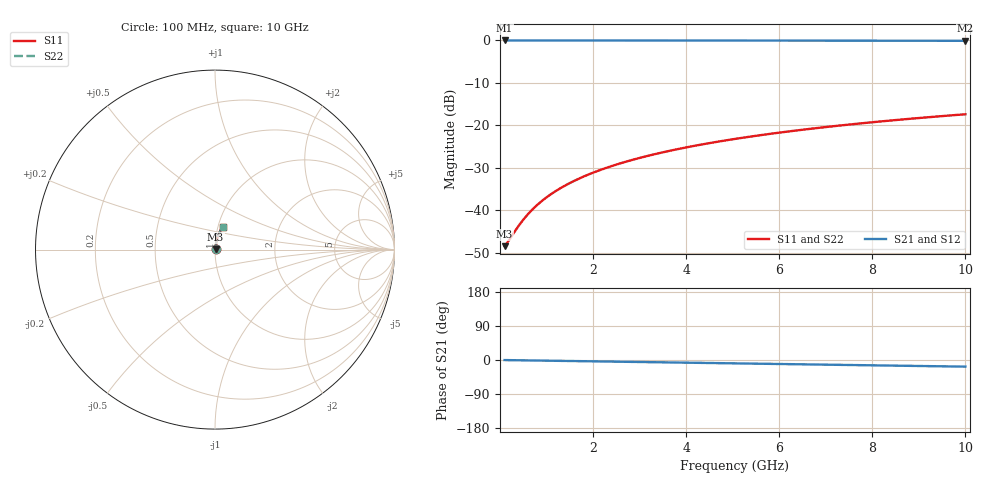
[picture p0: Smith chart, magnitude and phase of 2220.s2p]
# Hz S RI R 50.00
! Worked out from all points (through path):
!   100 points, 100 MHz to 10 GHz, reference 50 ohm
!   highest |S21| = -0.03 dB at 100 MHz (marker M1); lowest = -0.1 dB at 10 GHz (marker M2)
!   group delay of S21, straight-line fit = 4.87 ps
!   lowest |S11| = -48.4 dB at 100 MHz (marker M3), VSWR 1.01, Z = 50.4 + j0.138 ohm
!   |S11| at or under -10 dB: start of sweep to end of sweep
!   |S22| runs from -48.4 to -17.4 dB; largest |S21 - S12| = 0
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1e8  0.00355 0.00137  0.9964 -0.00306  0.9964 -0.00306  0.00355 0.00137
2e8  0.00358 0.00273  0.9964 -0.00612  0.9964 -0.00612  0.00358 0.00273
4e8  0.00366 0.00547  0.9963 -0.0122  0.9963 -0.0122  0.00366 0.00547
5e8  0.00371 0.00683  0.9962 -0.0153  0.9962 -0.0153  0.00371 0.00683
6e8  0.00377 0.0082  0.9962 -0.0184  0.9962 -0.0184  0.00377 0.0082
7e8  0.00383 0.00957  0.9961 -0.0214  0.9961 -0.0214  0.00383 0.00957
8e8  0.0039 0.0109  0.996 -0.0245  0.996 -0.0245  0.0039 0.0109
1e9  0.00407 0.0137  0.9958 -0.0306  0.9958 -0.0306  0.00407 0.0137
1.2e9  0.00427 0.0164  0.9955 -0.0367  0.9955 -0.0367  0.00427 0.0164
1.5e9  0.00462 0.0205  0.995 -0.0459  0.995 -0.0459  0.00462 0.0205
1.8e9  0.00505 0.0245  0.9945 -0.055  0.9945 -0.055  0.00505 0.0245
2.1e9  0.00556 0.0286  0.9938 -0.0642  0.9938 -0.0642  0.00556 0.0286
2.5e9  0.00634 0.034  0.9927 -0.0763  0.9927 -0.0763  0.00634 0.034
2.9e9  0.00726 0.0394  0.9915 -0.0885  0.9915 -0.0885  0.00726 0.0394
3.4e9  0.00859 0.0461  0.9897 -0.1037  0.9897 -0.1037  0.00859 0.0461
4.2e9  0.0111 0.0567  0.9863 -0.1278  0.9863 -0.1278  0.0111 0.0567
5.1e9  0.0146 0.0685  0.9815 -0.1549  0.9815 -0.1549  0.0146 0.0685
5.9e9  0.0183 0.0787  0.9766 -0.1787  0.9766 -0.1787  0.0183 0.0787
6.7e9  0.0224 0.0888  0.971 -0.2023  0.971 -0.2023  0.0224 0.0888
7.5e9  0.027 0.0986  0.9648 -0.2258  0.9648 -0.2258  0.027 0.0986
8.4e9  0.0327 0.1094  0.9569 -0.2518  0.9569 -0.2518  0.0327 0.1094
1e10  0.0443 0.1276  0.941 -0.2973  0.941 -0.2973  0.0443 0.1276
